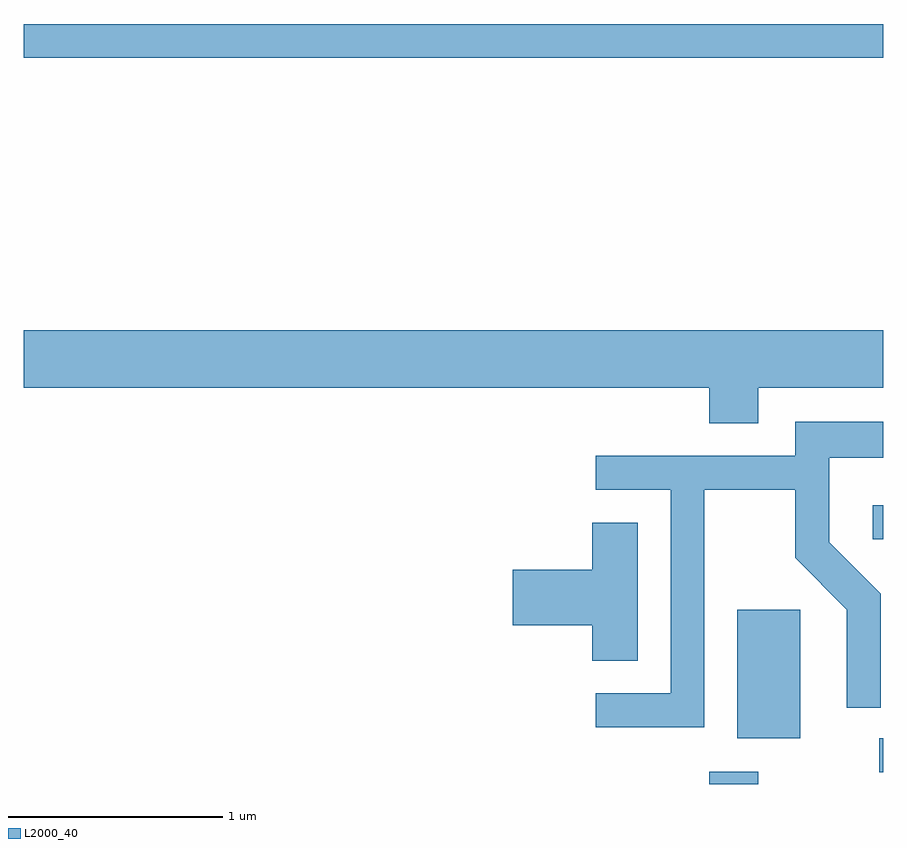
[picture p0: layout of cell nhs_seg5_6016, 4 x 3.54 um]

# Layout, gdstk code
import gdstk
lib = gdstk.Library(unit=1e-6, precision=1e-09)
def R(c, l, rs):  # rectangles x0, y0, x1, y1
    for r in rs: c.add(gdstk.rectangle(r[:2], r[2:], *l))
def P(c, l, *ps):  # polygons
    for p in ps: c.add(gdstk.Polygon(p, *l))
L2000_40 = (2000, 40)

nhs_seg5_6016 = lib.new_cell('nhs_seg5_6016')
R(nhs_seg5_6016, L2000_40, [(366.801,1446.072,367.029,1446.129), (367.593,1446.126,367.611,1446.284), (366.931,1446.286,367.224,1446.884), (367.563,1447.211,367.611,1447.369), (363.611,1449.451,367.611,1449.609)])
P(nhs_seg5_6016, L2000_40, [(367.029,1447.916),(367.611,1447.916),(367.611,1448.184),(363.611,1448.184),(363.611,1447.916),(366.801,1447.916),(366.801,1447.751),(367.029,1447.751)],
  [(366.779,1447.441),(367.201,1447.441),(367.201,1447.124),(367.441,1446.884),(367.441,1446.428),(367.599,1446.428),(367.599,1446.957),(367.359,1447.197),(367.359,1447.591),(367.611,1447.591),(367.611,1447.759),(367.201,1447.759),(367.201,1447.599),(366.273,1447.599),(366.273,1447.441),(366.621,1447.441),(366.621,1446.494),(366.273,1446.494),(366.273,1446.336),(366.779,1446.336)],
  [(366.469,1447.289),(366.256,1447.289),(366.256,1447.069),(365.886,1447.069),(365.886,1446.811),(366.256,1446.811),(366.256,1446.646),(366.469,1446.646)])

lib.write_gds('nhs_seg5_6016.gds')
